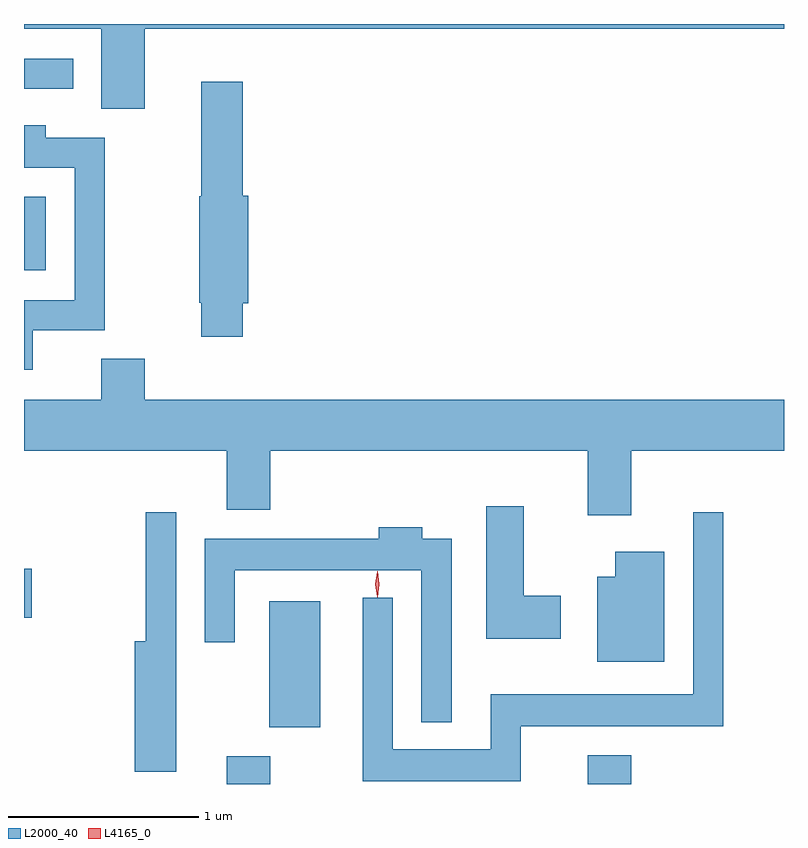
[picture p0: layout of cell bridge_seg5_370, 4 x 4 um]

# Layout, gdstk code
import gdstk
lib = gdstk.Library(unit=1e-6, precision=1e-09)
def R(c, l, rs):  # rectangles x0, y0, x1, y1
    for r in rs: c.add(gdstk.rectangle(r[:2], r[2:], *l))
def P(c, l, *ps):  # polygons
    for p in ps: c.add(gdstk.Polygon(p, *l))
L2000_40 = (2000, 40)
L4165_0 = (4165, 0)

bridge_seg5_370 = lib.new_cell('bridge_seg5_370')
R(bridge_seg5_370, L2000_40, [(488.841,1488.342,489.069,1488.489), (490.741,1488.342,490.969,1488.494), (489.066,1488.641,489.334,1489.304), (487.774,1489.216,487.814,1489.474), (487.774,1491.046,487.889,1491.434), (487.774,1492.001,488.033,1492.159)])
P(bridge_seg5_370, L2000_40, [(488.409,1492.316),(491.774,1492.316),(491.774,1492.342),(487.774,1492.342),(487.774,1492.316),(488.181,1492.316),(488.181,1491.896),(488.409,1491.896)],
  [(488.924,1490.871),(488.954,1490.871),(488.954,1491.439),(488.924,1491.439),(488.924,1492.039),(488.706,1492.039),(488.706,1491.435),(488.696,1491.435),(488.696,1490.875),(488.706,1490.875),(488.706,1490.696),(488.924,1490.696)],
  [(487.819,1490.731),(488.199,1490.731),(488.199,1491.744),(487.889,1491.744),(487.889,1491.809),(487.774,1491.809),(487.774,1491.586),(488.041,1491.586),(488.041,1490.889),(487.774,1490.889),(487.774,1490.521),(487.819,1490.521)],
  [(490.969,1490.096),(491.774,1490.096),(491.774,1490.364),(488.409,1490.364),(488.409,1490.579),(488.181,1490.579),(488.181,1490.364),(487.774,1490.364),(487.774,1490.096),(488.841,1490.096),(488.841,1489.786),(489.069,1489.786),(489.069,1490.096),(490.741,1490.096),(490.741,1489.756),(490.969,1489.756)],
  [(490.599,1489.334),(490.404,1489.334),(490.404,1489.804),(490.206,1489.804),(490.206,1489.106),(490.599,1489.106)],
  [(488.574,1489.773),(488.416,1489.773),(488.416,1489.094),(488.356,1489.094),(488.356,1488.406),(488.574,1488.406)],
  [(490.389,1488.646),(491.454,1488.646),(491.454,1489.773),(491.296,1489.773),(491.296,1488.814),(490.231,1488.814),(490.231,1488.524),(489.714,1488.524),(489.714,1489.323),(489.556,1489.323),(489.556,1488.356),(490.389,1488.356)],
  [(490.024,1489.634),(489.869,1489.634),(489.869,1489.694),(489.641,1489.694),(489.641,1489.634),(488.726,1489.634),(488.726,1489.088),(488.884,1489.088),(488.884,1489.466),(489.866,1489.466),(489.866,1488.668),(490.024,1488.668)],
  [(491.144,1489.564),(490.886,1489.564),(490.886,1489.434),(490.791,1489.434),(490.791,1488.986),(491.144,1488.986)])
P(bridge_seg5_370, L4165_0, [(489.634,1489.324),(489.625,1489.394),(489.634,1489.462),(489.635,1489.463),(489.636,1489.462),(489.645,1489.394),(489.636,1489.324),(489.635,1489.324)],
  [(489.633,1489.327),(489.632,1489.328),(489.623,1489.394),(489.632,1489.46),(489.632,1489.46),(489.633,1489.46),(489.642,1489.394),(489.633,1489.328)])

lib.write_gds('bridge_seg5_370.gds')
